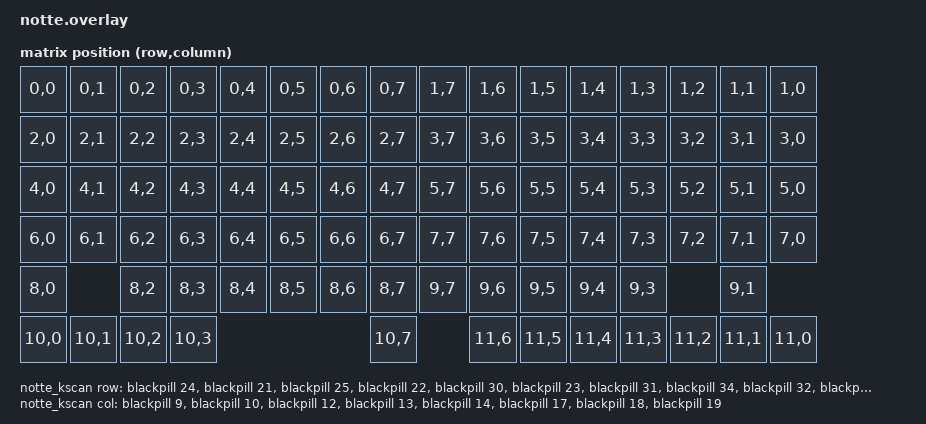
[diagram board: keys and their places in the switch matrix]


#include <dt-bindings/zmk/matrix_transform.h>
#include "notte-layouts.dtsi"


// kscan definition
/ {
    chosen {
        zmk,kscan = &notte_kscan;
        zmk,physical-layout = &notte_physical_layout;
    };

    sensors: sensors {
        compatible = "zmk,keymap-sensors";
        sensors = <&left_encoder &right_encoder &lower_encoder>;
        triggers-per-rotation = <20>;
    };

    notte_kscan: kscan0 {
        compatible = "zmk,kscan-gpio-matrix";
        diode-direction = "col2row";
        wakeup-source;

        col-gpios
            = <&blackpill 9 GPIO_ACTIVE_HIGH>
            , <&blackpill 10 GPIO_ACTIVE_HIGH>
            , <&blackpill 12 GPIO_ACTIVE_HIGH>
            , <&blackpill 13 GPIO_ACTIVE_HIGH>
            , <&blackpill 14 GPIO_ACTIVE_HIGH>
            , <&blackpill 17 GPIO_ACTIVE_HIGH>
            , <&blackpill 18 GPIO_ACTIVE_HIGH>
            , <&blackpill 19 GPIO_ACTIVE_HIGH>
            ;

        row-gpios
            = <&blackpill 24 (GPIO_ACTIVE_HIGH | GPIO_PULL_DOWN)>
            , <&blackpill 21 (GPIO_ACTIVE_HIGH | GPIO_PULL_DOWN)>
            , <&blackpill 25 (GPIO_ACTIVE_HIGH | GPIO_PULL_DOWN)>
            , <&blackpill 22 (GPIO_ACTIVE_HIGH | GPIO_PULL_DOWN)>
            , <&blackpill 30 (GPIO_ACTIVE_HIGH | GPIO_PULL_DOWN)>
            , <&blackpill 23 (GPIO_ACTIVE_HIGH | GPIO_PULL_DOWN)>
            , <&blackpill 31 (GPIO_ACTIVE_HIGH | GPIO_PULL_DOWN)>
            , <&blackpill 34 (GPIO_ACTIVE_HIGH | GPIO_PULL_DOWN)>
            , <&blackpill 32 (GPIO_ACTIVE_HIGH | GPIO_PULL_DOWN)>
            , <&blackpill 35 (GPIO_ACTIVE_HIGH | GPIO_PULL_DOWN)>
            , <&blackpill 33 (GPIO_ACTIVE_HIGH | GPIO_PULL_DOWN)>
            , <&blackpill 36 (GPIO_ACTIVE_HIGH | GPIO_PULL_DOWN)>
            ;
    };

    // left_encoder: encoder_left {
    //     compatible = "alps,ec11";
    //     a-gpios = <&blackpill 8 (GPIO_ACTIVE_HIGH | GPIO_PULL_UP)>;
    //     b-gpios = <&blackpill 7 (GPIO_ACTIVE_HIGH | GPIO_PULL_UP)>;
    //     steps = <20>;
    //     status = "disabled";
    // };

    // right_encoder: encoder_right {
    //     compatible = "alps,ec11";
    //     a-gpios = <&blackpill 6 (GPIO_ACTIVE_HIGH | GPIO_PULL_UP)>;
    //     b-gpios = <&blackpill 4 (GPIO_ACTIVE_HIGH | GPIO_PULL_UP)>;
    //     steps = <20>;
    //     status = "disabled";
    // };

    // lower_encoder: encoder_lower {
    //     compatible = "alps,ec11";
    //     a-gpios = <&blackpill 15 (GPIO_ACTIVE_HIGH | GPIO_PULL_UP)>;
    //     b-gpios = <&blackpill 37 (GPIO_ACTIVE_HIGH | GPIO_PULL_UP)>;
    //     steps = <20>;
    //     status = "disabled";
    // };

    notte_default_transform: keymap_transform0 {
        compatible = "zmk,matrix-transform";
        columns = <8>; // Length of the "col-gpios" array
        rows = <12>; // Length of the "row-gpios" array
        map = <

            RC(0, 0)  RC(0, 1)  RC(0, 2)  RC(0, 3)  RC(0, 4)  RC(0, 5)  RC(0, 6)  RC(0, 7)      RC(1, 7)  RC(1, 6)  RC(1, 5)  RC(1, 4)  RC(1, 3)  RC(1, 2)  RC(1, 1)  RC(1, 0)
            RC(2, 0)  RC(2, 1)  RC(2, 2)  RC(2, 3)  RC(2, 4)  RC(2, 5)  RC(2, 6)  RC(2, 7)      RC(3, 7)  RC(3, 6)  RC(3, 5)  RC(3, 4)  RC(3, 3)  RC(3, 2)  RC(3, 1)  RC(3, 0)  
            RC(4, 0)  RC(4, 1)  RC(4, 2)  RC(4, 3)  RC(4, 4)  RC(4, 5)  RC(4, 6)  RC(4, 7)      RC(5, 7)  RC(5, 6)  RC(5, 5)  RC(5, 4)  RC(5, 3)  RC(5, 2)  RC(5, 1)  RC(5, 0)  
            RC(6, 0)  RC(6, 1)  RC(6, 2)  RC(6, 3)  RC(6, 4)  RC(6, 5)  RC(6, 6)  RC(6, 7)      RC(7, 7)  RC(7, 6)  RC(7, 5)  RC(7, 4)  RC(7, 3)  RC(7, 2)  RC(7, 1)  RC(7, 0)  
            RC(8, 0)            RC(8, 2)  RC(8, 3)  RC(8, 4)  RC(8, 5)  RC(8, 6)  RC(8, 7)      RC(9, 7)  RC(9, 6)  RC(9, 5)  RC(9, 4)  RC(9, 3)            RC(9, 1)    
            RC(10,0)  RC(10,1)  RC(10,2)  RC(10,3)                                RC(10,7)                RC(11,6)  RC(11,5)  RC(11,4)  RC(11,3)  RC(11,2)  RC(11,1)  RC(11,0)  

        >;
    };


};

&left_encoder {
status = "okay";
};

&right_encoder {
status = "okay";
};

&lower_encoder {    
status = "okay";
};




